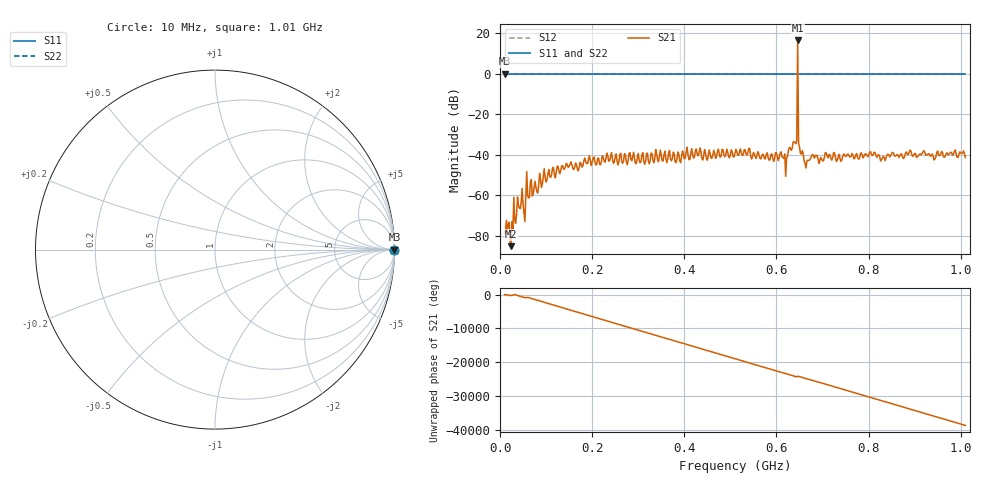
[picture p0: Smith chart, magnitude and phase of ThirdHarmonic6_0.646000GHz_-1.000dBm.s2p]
! 8/15/2025 9:25:21 PM
! C:\ANRITSUVNA\TEMP\TEMP.S2P
! CHANNEL.1
! TR.MEASUREMENT
! RAW.DATA
! RF.CORRECTION.OFF
! AVERAGING.OFF
! IF.BANDWIDTH: 5KHZ
! SWEEPTYPE:  FREQ.SWEEP(Linear)
! Reference Plane Port Info
! PORT:  PORT1  PORT2
! DISTANCE:  0  m  0  m
! TIME:  0  s  0  s
! PHASE.OFFSET:  0  deg.  0  deg.
! LOSS:  0  dB  0  dB
! REF.LOSS:  0  dB  0  dB
! REF.FREQ:  0  Hz  0  Hz
! Power Info
! POWER:  -20  dBm  -20  dBm
! EFF.POWER:  -20  dBm  -20  dBm
! SOURCE.ATTEN:  0  dB  0  dB
! TEST.ATTEN:  0  dB  0  dB
# GHZ S RI R 50.0
! FREQ.GHZ  S11RE  S11IM  S21RE  S21IM  S12RE  S12IM  S22RE  S22IM
!; PortSelection: Port_12
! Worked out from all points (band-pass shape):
!   501 points, 10 MHz to 1.01 GHz, reference 50 ohm
!   highest |S21| = 16.41 dB at 646 MHz (marker M1); lowest = -85.2 dB at 24 MHz (marker M2)
!   |S21| within 3 dB of the highest: 645.8792 MHz to 646.1182 MHz (239 kHz wide, 0.037 % of centre)
!   lowest |S11| = 0.0 dB at 10 MHz (marker M3)
!   |S11| at or under -10 dB: nowhere
!   |S22| runs from 0.0 to 0.0 dB; largest |S21 - S12| = 6.2
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0.01  1 0  0.0001 6.17e-05  1 0  1 0
0.024  1 0  1.83e-05 5.21e-05  1 0  1 0
0.034  1 0  6.52e-05 -0.000191  1 0  1 0
0.044  1 0  -0.000157 -0.000438  1 0  1 0
0.052  1 0  -2.12e-05 -0.000373  1 0  1 0
0.062  1 0  -0.000715 -0.000463  1 0  1 0
0.08  1 0  -0.00113 -0.000417  1 0  1 0
0.112  1 0  0.00314 -0.00067  1 0  1 0
0.178  1 0  -0.00493 -1.49e-05  1 0  1 0
0.344  1 0  0.00553 -0.00376  1 0  1 0
0.51  1 0  -0.00837 0.00715  1 0  1 0
0.61  1 0  0.00474 0.0108  1 0  1 0
0.618  1 0  -0.00559 0.00879  1 0  1 0
0.64  1 0  0.00709 -0.0189  1 0  1 0
0.642  1 0  -0.0169 -0.00801  1 0  1 0
0.646  1 0  3.386 -5.685  1 0  1 0
0.65  1 0  -0.0139 -0.00672  1 0  1 0
0.652  1 0  -0.00658 0.00851  1 0  1 0
0.664  1 0  0.00399 0.00249  1 0  1 0
0.678  1 0  -0.0094 -0.00369  1 0  1 0
0.844  1 0  0.00957 0.00235  1 0  1 0
1.01  1 0  -0.00829 0.00177  1 0  1 0
